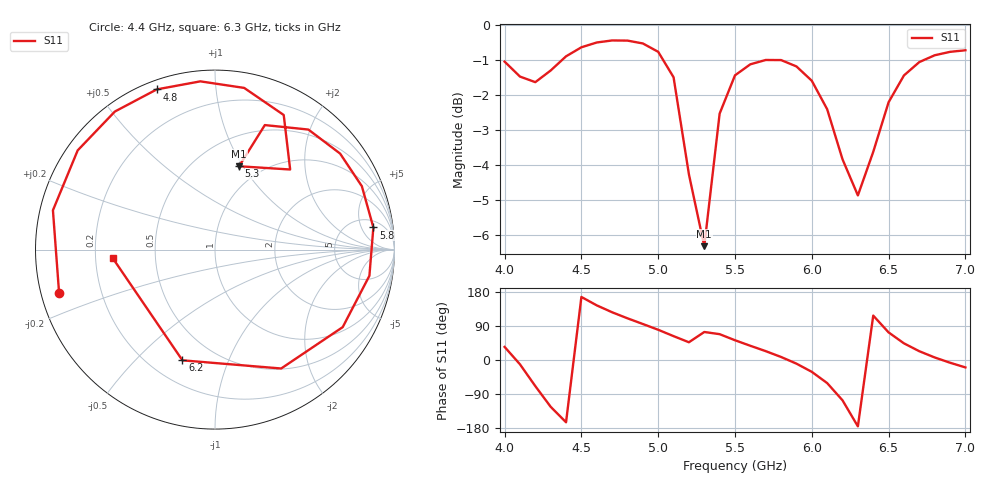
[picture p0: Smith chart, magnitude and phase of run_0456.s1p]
! Touchstone file exported from HFSS 2024.2.0
!  File:  C:/Users/wsak9/Desktop/Sim Fast/Widenad Patch/WP_AI_V1_sweep.aedt
!  Generated:  10:51:43 AM Oct 14, 2026
!  Design:  A1_model
!  Project:  WP_AI_V1_sweep
!  Setup:  Setup1
!  Solution:  Sweep
! Variables:
!  Air_gap = 2.55mm
!  Curve_Amp1 = 3.19
!  Curve_len1 = 1
!  Curve_pos = 10.885mm
!  Extra = 0.67mm
!  H_sub = 0.79mm
!  L_Patch = 17.77mm
!  L_Patch1 = 10.24mm
!  Sx = 3.35mm
!  Sy = 3.88mm
!  WS = 0.29mm
!  W_Patch = 16.34mm
!  W_Patch1 = 9.57mm
!Data is not renormalized
# GHz S MA
! Terminal data exported
! Port[1] = 1
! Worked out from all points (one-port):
!   31 points, 4 GHz to 7 GHz, reference per port
!   lowest |S11| = -6.3 dB at 5.3 GHz (marker M1), VSWR 2.87
!   |S11| at or under -10 dB: nowhere
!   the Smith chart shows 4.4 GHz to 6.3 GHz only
!   S11 on the Smith chart (normalised r, x): 4.4 GHz: 0.05, -0.14; 4.8 GHz: 0.04, +0.70; 5.3 GHz: 0.79, +0.96; 5.8 GHz: 7, +8; 6.2 GHz: 0.33, -0.69; 6.3 GHz: 0.27, -0.04
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4  0.8864 34.5
4.1  0.8439 -11.4
4.2  0.8286 -69.0
4.3  0.861 -123.5
4.4  0.9019 -164.4
4.5  0.9291 166.4
4.6  0.9439 144.1
4.7  0.9502 126.0
4.8  0.9498 110.0
5  0.9154 79.8
5.1  0.842 63.0
5.2  0.6119 46.8
5.3  0.4834 73.9
5.4  0.7473 68.2
5.5  0.8474 52.1
5.7  0.8912 23.4
5.8  0.8909 8.0
5.9  0.8725 -9.6
6  0.8324 -31.3
6.1  0.7581 -60.9
6.2  0.6431 -106.4
6.3  0.5711 -175.1
6.4  0.6589 117.2
6.5  0.7757 72.8
6.6  0.8471 43.9
6.7  0.8851 23.1
6.8  0.9051 6.7
7  0.9201 -19.6
